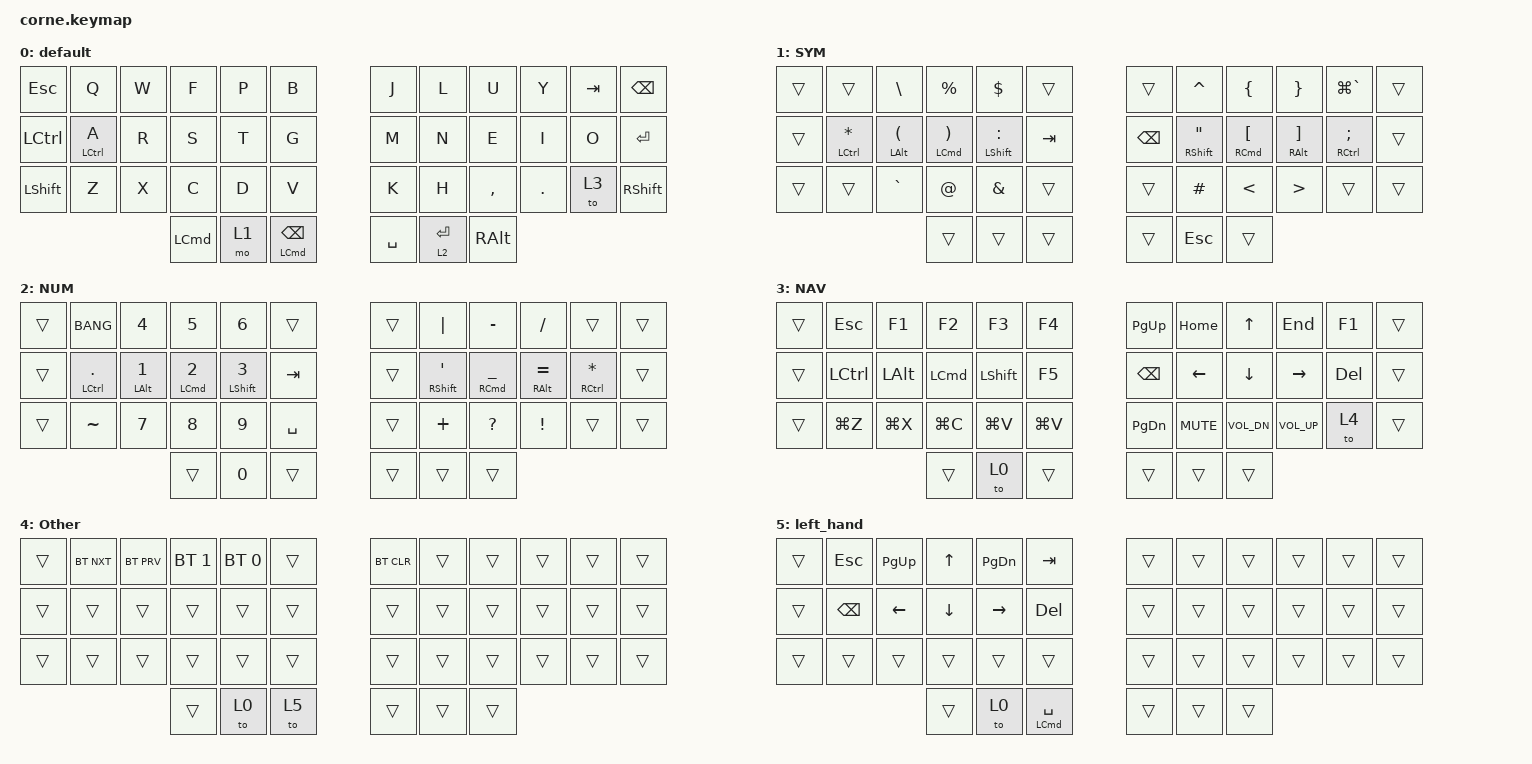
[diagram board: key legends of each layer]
/*
 * Copyright (c) 2020 The ZMK Contributors
 *
 * SPDX-License-Identifier: MIT
 */

#include <behaviors.dtsi>
#include <dt-bindings/zmk/bt.h>
#include <dt-bindings/zmk/keys.h>

&mt {
    // flavor = "tap-preferred";

    flavor = "balanced";
    tapping_term_ms = <200>;
    quick-tap-ms = <200>;
};

&sk {
    quick-release;
};

/ {
    combos {
        compatible = "zmk,combos";

        caps_word {
            bindings = <&caps_word>;
            key-positions = <17 18>;
        };

        combo_shift {
            bindings = <&sk LSHIFT>;
            key-positions = <2 3>;
        };

        combo_alt {
            bindings = <&sk LEFT_ALT>;
            key-positions = <26 27>;
        };

        combo_command {
            bindings = <&sk RIGHT_COMMAND>;
            key-positions = <32 33>;
        };
    };

    macros {
    };

    keymap {
        compatible = "zmk,keymap";

        default {
            bindings = <
&kp ESCAPE        &kp Q        &kp W  &kp F             &kp P  &kp B                         &kp J      &kp L        &kp U          &kp Y    &kp TAB  &kp BACKSPACE
&kp LEFT_CONTROL  &mt LCTRL A  &kp R  &kp S             &kp T  &kp G                         &kp M      &kp N        &kp E          &kp I    &kp O    &kp RET
&kp LEFT_SHIFT    &kp Z        &kp X  &kp C             &kp D  &kp V                         &kp K      &kp H        &kp COMMA      &kp DOT  &to 3    &kp RIGHT_SHIFT
                                      &kp LEFT_COMMAND  &mo 1  &mt LEFT_COMMAND BACKSPACE    &kp SPACE  &lt 2 ENTER  &kp RIGHT_ALT
            >;
        };

        SYM {
            bindings = <
&trans  &trans                 &kp BACKSLASH                  &kp PERCENT                         &kp DOLLAR            &trans     &trans         &kp CARET                      &kp LEFT_BRACE                  &kp RIGHT_BRACE              &kp LG(GRAVE)                &trans
&trans  &mt LEFT_CONTROL STAR  &mt LEFT_ALT LEFT_PARENTHESIS  &mt LEFT_COMMAND RIGHT_PARENTHESIS  &mt LEFT_SHIFT COLON  &kp TAB    &kp BACKSPACE  &mt RIGHT_SHIFT DOUBLE_QUOTES  &mt RIGHT_COMMAND LEFT_BRACKET  &mt RIGHT_ALT RIGHT_BRACKET  &mt RIGHT_CONTROL SEMICOLON  &trans
&trans  &trans                 &kp GRAVE                      &kp AT_SIGN                         &kp AMPERSAND         &trans     &trans         &kp HASH                       &kp LESS_THAN                   &kp GREATER_THAN             &trans                       &trans
                                                              &trans                              &trans                &trans     &trans         &kp ESC                        &trans
            >;
        };

        NUM {
            bindings = <
&trans  &kp BANG                 &kp NUMBER_4     &kp NUMBER_5         &kp NUMBER_6   &trans       &trans  &kp PIPE              &kp MINUS                     &kp SLASH            &trans                  &trans
&trans  &mt LEFT_CONTROL PERIOD  &mt LEFT_ALT N1  &mt LEFT_COMMAND N2  &mt LSHIFT N3  &kp TAB      &trans  &mt RIGHT_SHIFT APOS  &mt RIGHT_COMMAND UNDERSCORE  &mt RIGHT_ALT EQUAL  &mt RIGHT_CONTROL STAR  &trans
&trans  &kp TILDE                &kp NUMBER_7     &kp NUMBER_8         &kp NUMBER_9   &kp SPACE    &trans  &kp PLUS              &kp QUESTION                  &kp EXCL             &trans                  &trans
                                                  &trans               &kp NUMBER_0   &trans       &trans  &trans                &trans
            >;
        };

        NAV {
            bindings = <
&trans  &kp ESC           &kp F1        &kp F2            &kp F3          &kp F4       &kp PAGE_UP    &kp HOME    &kp UP        &kp END       &kp F1      &trans
&trans  &kp LEFT_CONTROL  &kp LEFT_ALT  &kp LEFT_COMMAND  &kp LEFT_SHIFT  &kp F5       &kp BACKSPACE  &kp LEFT    &kp DOWN      &kp RIGHT     &kp DELETE  &trans
&trans  &kp LG(Z)         &kp LG(X)     &kp LG(C)         &kp LG(V)       &kp LG(V)    &kp PAGE_DOWN  &kp C_MUTE  &kp C_VOL_DN  &kp C_VOL_UP  &to 4       &trans
                                        &trans            &to 0           &trans       &trans         &trans      &trans
            >;
        };

        Other {
            bindings = <
&trans  &bt BT_NXT  &bt BT_PRV  &bt BT_SEL 1  &bt BT_SEL 0  &trans    &bt BT_CLR  &trans  &trans  &trans  &trans  &trans
&trans  &trans      &trans      &trans        &trans        &trans    &trans      &trans  &trans  &trans  &trans  &trans
&trans  &trans      &trans      &trans        &trans        &trans    &trans      &trans  &trans  &trans  &trans  &trans
                                &trans        &to 0         &to 5     &trans      &trans  &trans
            >;
        };

        left_hand {
            bindings = <
&trans  &kp ESC        &kp PAGE_UP  &kp UP    &kp PAGE_DOWN  &kp TAB                   &trans  &trans  &trans  &trans  &trans  &trans
&trans  &kp BACKSPACE  &kp LEFT     &kp DOWN  &kp RIGHT      &kp DEL                   &trans  &trans  &trans  &trans  &trans  &trans
&trans  &trans         &trans       &trans    &trans         &trans                    &trans  &trans  &trans  &trans  &trans  &trans
                                    &trans    &to 0          &mt LEFT_COMMAND SPACE    &trans  &trans  &trans
            >;
        };
    };
};
